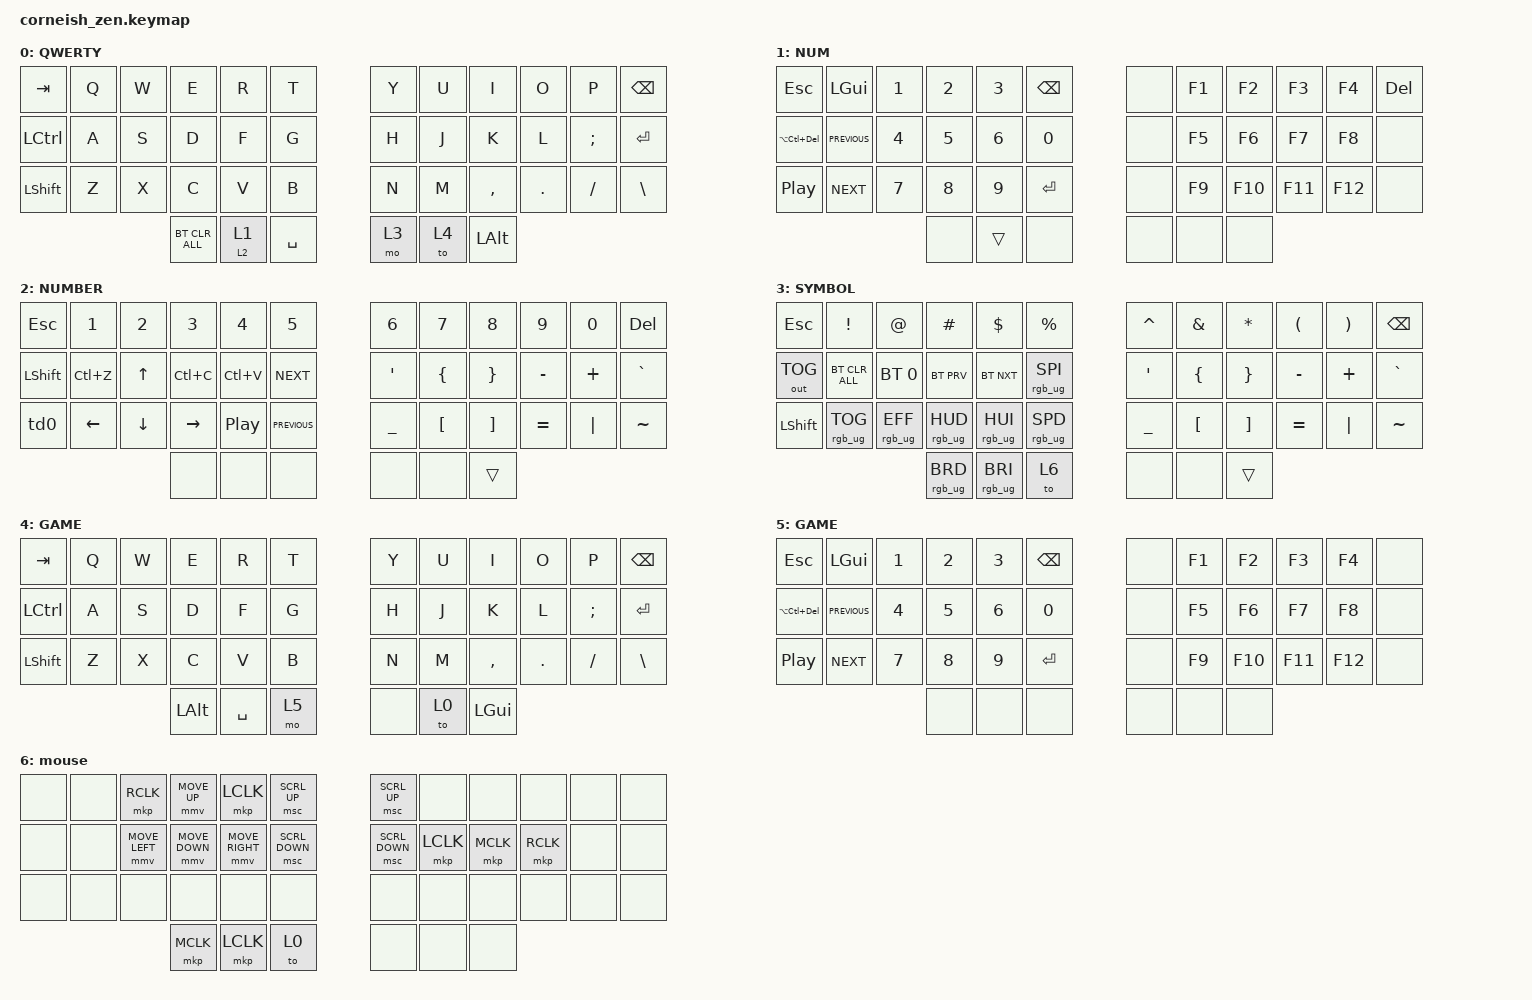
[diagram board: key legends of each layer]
/*
 * Copyright (c) 2020 The ZMK Contributors
 *
 * SPDX-License-Identifier: MIT
 */

#include <behaviors.dtsi>
#include <dt-bindings/zmk/bt.h>
#include <dt-bindings/zmk/keys.h>
#include <dt-bindings/zmk/outputs.h>
#include <dt-bindings/zmk/pointing.h>
#include <dt-bindings/zmk/rgb.h>

/ {
    chosen {
        zmk,matrix_transform = &default_transform;

        // zmk,matrix_transform = &five_column_transform;
    };
};

/ {
    behaviors {
        td0: td0 {
            compatible = "zmk,behavior-tap-dance";
            label = "TD0";
            #binding-cells = <0>;
            bindings = <&kp LEFT_SHIFT>, <&kp CAPS>;
        };

        th0: th0 {
            compatible = "zmk,behavior-hold-tap";
            label = "TH0";
            bindings = <&mo>, <&tog>;

            #binding-cells = <2>;
            tapping-term-ms = <170>;
            flavor = "tap-preferred";
        };
    };

    keymap {
        compatible = "zmk,keymap";

        default_layer {
            display-name = "QWERTY";

            // --------------------------------------------------------------------------------
            // |  TAB |  Q  |  W  |  E  |  R  |  T  |   |  Y  |  U   |  I  |  O  |  P  | BKSP |
            // | CTRL |  A  |  S  |  D  |  F  |  G  |   |  H  |  J   |  K  |  L  |  ;  |  '   | 
            // | SHFT |  Z  |  X  |  C  |  V  |  B  |   |  N  |  M   |  ,  |  .  |  /  | ESC  |
            //                    | GUI | LWR | SPC |   | ENT | RSE  | ALT |

            bindings = <
&kp TAB           &kp Q  &kp W  &kp E           &kp R     &kp T        &kp Y  &kp U  &kp I      &kp O    &kp P     &kp BSPC
&kp LEFT_CONTROL  &kp A  &kp S  &kp D           &kp F     &kp G        &kp H  &kp J  &kp K      &kp L    &kp SEMI  &kp ENTER
&kp LEFT_SHIFT    &kp Z  &kp X  &kp C           &kp V     &kp B        &kp N  &kp M  &kp COMMA  &kp DOT  &kp FSLH  &kp BACKSLASH
                                &bt BT_CLR_ALL  &th0 2 1  &kp SPACE    &mo 3  &to 4  &kp LALT
            >;
        };

        NUM {
            display-name = "NUM";
            bindings = <
&kp ESC           &kp LGUI        &kp N1  &kp N2  &kp N3  &kp BACKSPACE    &none  &kp F1  &kp F2   &kp F3   &kp F4   &kp DEL
&kp LA(LC(DEL))   &kp C_PREVIOUS  &kp N4  &kp N5  &kp N6  &kp N0           &none  &kp F5  &kp F6   &kp F7   &kp F8   &none
&kp C_PLAY_PAUSE  &kp C_NEXT      &kp N7  &kp N8  &kp N9  &kp ENTER        &none  &kp F9  &kp F10  &kp F11  &kp F12  &none
                                          &none   &trans  &none            &none  &none   &none
            >;
        };

        lower_layer {
            display-name = "NUMBER";
            bindings = <
&kp ESCAPE      &kp N1     &kp N2    &kp N3     &kp N4            &kp N5            &kp N6            &kp N7            &kp N8             &kp N9     &kp N0    &kp DEL
&kp LEFT_SHIFT  &kp LC(Z)  &kp UP    &kp LC(C)  &kp LC(V)         &kp C_NEXT        &kp SINGLE_QUOTE  &kp LEFT_BRACE    &kp RIGHT_BRACE    &kp MINUS  &kp PLUS  &kp GRAVE
&td0            &kp LEFT   &kp DOWN  &kp RIGHT  &kp C_PLAY_PAUSE  &kp C_PREVIOUS    &kp UNDER         &kp LEFT_BRACKET  &kp RIGHT_BRACKET  &kp EQUAL  &kp PIPE  &kp TILDE
                                     &none      &none             &none             &none             &none             &trans
            >;
        };

        raise_layer {
            display-name = "SYMBOL";

            // -----------------------------------------------------------------------------------------
            // |  TAB |  !  |  @  |  #  |  $  |  %  |   |  ^  |  &  |  *  |  (  |  )  | BKSP |
            // | CTRL |     |     |     |     |     |   |  -  |  =  |  [  |  ]  |  \  |  `   |
            // | SHFT |     |     |     |     |     |   |  _  |  +  |  {  |  }  | "|" |  ~   |
            //                    | GUI |     | SPC |   | ENT |     | ALT |

            bindings = <
&kp ESCAPE      &kp EXCL         &kp AT           &kp HASH         &kp DLLR         &kp PRCNT          &kp CARET         &kp AMPS          &kp ASTRK          &kp LPAR   &kp RPAR  &kp BSPC
&out OUT_TOG    &bt BT_CLR_ALL   &bt BT_SEL 0     &bt BT_PRV       &bt BT_NXT       &rgb_ug RGB_SPI    &kp SINGLE_QUOTE  &kp LEFT_BRACE    &kp RIGHT_BRACE    &kp MINUS  &kp PLUS  &kp GRAVE
&kp LEFT_SHIFT  &rgb_ug RGB_TOG  &rgb_ug RGB_EFF  &rgb_ug RGB_HUD  &rgb_ug RGB_HUI  &rgb_ug RGB_SPD    &kp UNDER         &kp LEFT_BRACKET  &kp RIGHT_BRACKET  &kp EQUAL  &kp PIPE  &kp TILDE
                                                  &rgb_ug RGB_BRD  &rgb_ug RGB_BRI  &to 6              &none             &none             &trans
            >;
        };

        GAMING {
            display-name = "GAME";
            bindings = <
&kp TAB           &kp Q  &kp W  &kp E         &kp R      &kp T    &kp Y  &kp U  &kp I         &kp O    &kp P     &kp BSPC
&kp LEFT_CONTROL  &kp A  &kp S  &kp D         &kp F      &kp G    &kp H  &kp J  &kp K         &kp L    &kp SEMI  &kp ENTER
&kp LEFT_SHIFT    &kp Z  &kp X  &kp C         &kp V      &kp B    &kp N  &kp M  &kp COMMA     &kp DOT  &kp FSLH  &kp BACKSLASH
                                &kp LEFT_ALT  &kp SPACE  &mo 5    &none  &to 0  &kp LEFT_GUI
            >;
        };

        GAMING2 {
            display-name = "GAME";
            bindings = <
&kp ESC           &kp LGUI        &kp N1  &kp N2  &kp N3  &kp BACKSPACE    &none  &kp F1  &kp F2   &kp F3   &kp F4   &none
&kp LA(LC(DEL))   &kp C_PREVIOUS  &kp N4  &kp N5  &kp N6  &kp N0           &none  &kp F5  &kp F6   &kp F7   &kp F8   &none
&kp C_PLAY_PAUSE  &kp C_NEXT      &kp N7  &kp N8  &kp N9  &kp ENTER        &none  &kp F9  &kp F10  &kp F11  &kp F12  &none
                                          &none   &none   &none            &none  &none   &none
            >;
        };

        mouse {
            bindings = <
&none  &none  &mkp RCLK       &mmv MOVE_UP    &mkp LCLK        &msc SCRL_UP      &msc SCRL_UP    &none      &none      &none      &none  &none
&none  &none  &mmv MOVE_LEFT  &mmv MOVE_DOWN  &mmv MOVE_RIGHT  &msc SCRL_DOWN    &msc SCRL_DOWN  &mkp LCLK  &mkp MCLK  &mkp RCLK  &none  &none
&none  &none  &none           &none           &none            &none             &none           &none      &none      &none      &none  &none
                              &mkp MCLK       &mkp LCLK        &to 0             &none           &none      &none
            >;

            label = "mouse";
        };
    };
};
